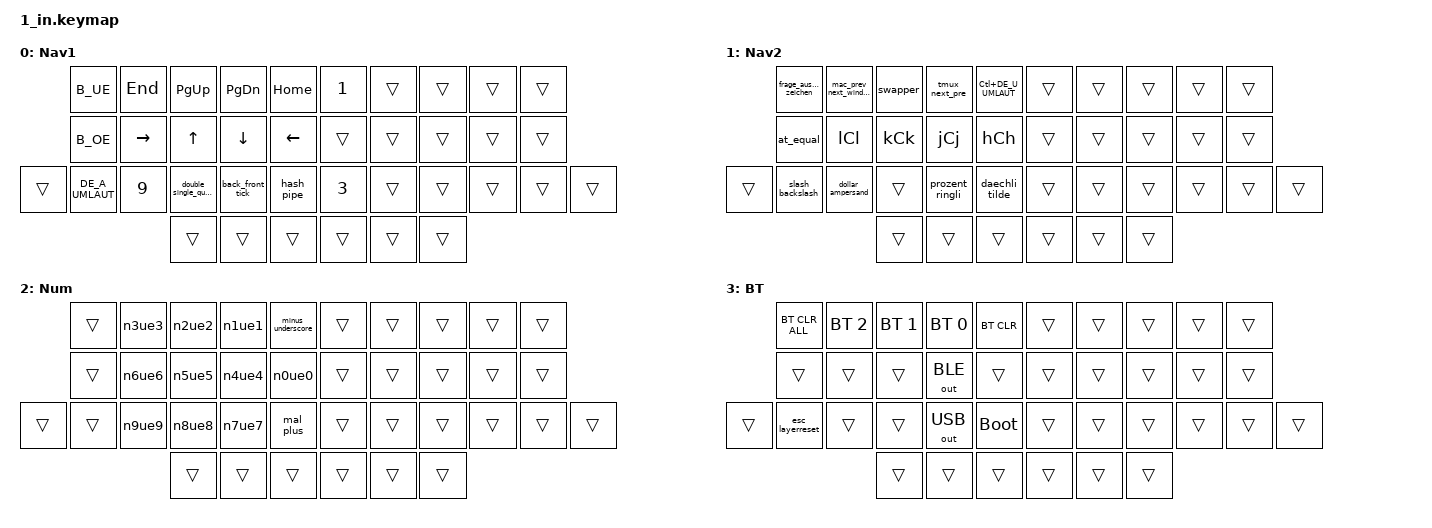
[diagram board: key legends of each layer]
#include "keys_de_swiss.h"
#include <behaviors.dtsi>
#include <dt-bindings/zmk/bt.h>
#include <dt-bindings/zmk/keys.h>
#include <dt-bindings/zmk/outputs.h>

&default_transform { col-offset = <0>; };

#define BASE 0
#define NAV  1
#define SYM  2
#define ADJ  3

&mt {
    quick-tap-ms = <100>;
    global-quick-tap;
    flavor = "tap-preferred";
    tapping-term-ms = <170>;
};

/ {
    combos {
        compatible = "zmk,combos";

        // BEGIN combos
        // END combos
    };

    macros {
        // BEGIN macros
        // END macros
    };

    behaviors {
        // BEGIN behaviors
        // END behaviors
    };

    keymap {
        compatible = "zmk,keymap";


        // BEGIN keymap
        // END keymap

        Nav1 {
            bindings = <
        &B_UE            &kp END          &kp PG_UP             &kp PG_DN         &kp HOME          &kp N1  &trans  &trans  &trans  &trans
        &B_OE            &kp RIGHT_ARROW  &kp UP                &kp DOWN          &kp LEFT_ARROW    &trans  &trans  &trans  &trans  &trans
&trans  &kp DE_A_UMLAUT  &kp N9           &double_single_quote  &back_front_tick  &hash_pipe        &kp N3  &trans  &trans  &trans  &trans  &trans
                                          &trans                &trans            &trans            &trans  &trans  &trans
            >;
        };

        Nav2 {
            bindings = <
        &frage_ausrufe_zeichen  &mac_prev_next_window  &swapper  &tmux_next_pre   &kp LC(DE_U_UMLAUT)    &trans  &trans  &trans  &trans  &trans
        &at_equal               &lCl                   &kCk      &jCj             &hCh                   &trans  &trans  &trans  &trans  &trans
&trans  &slash_backslash        &dollar_ampersand      &trans    &prozent_ringli  &daechli_tilde         &trans  &trans  &trans  &trans  &trans  &trans
                                                       &trans    &trans           &trans                 &trans  &trans  &trans
            >;
        };

        Num {
            bindings = <
        &trans  &n3ue3  &n2ue2  &n1ue1  &minus_underscore    &trans  &trans  &trans  &trans  &trans
        &trans  &n6ue6  &n5ue5  &n4ue4  &n0ue0               &trans  &trans  &trans  &trans  &trans
&trans  &trans  &n9ue9  &n8ue8  &n7ue7  &mal_plus            &trans  &trans  &trans  &trans  &trans  &trans
                        &trans  &trans  &trans               &trans  &trans  &trans
            >;
        };

        BT {
            bindings = <
        &bt BT_CLR_ALL   &bt BT_SEL 2  &bt BT_SEL 1  &bt BT_SEL 0  &bt BT_CLR     &trans  &trans  &trans  &trans  &trans
        &trans           &trans        &trans        &out OUT_BLE  &trans         &trans  &trans  &trans  &trans  &trans
&trans  &esc_layerreset  &trans        &trans        &out OUT_USB  &bootloader    &trans  &trans  &trans  &trans  &trans  &trans
                                       &trans        &trans        &trans         &trans  &trans  &trans
            >;
        };
    };

    conditional_layers {
        compatible = "zmk,conditional-layers";

        BT {
            if-layers = <1 2>;
            then-layer = <4>;
        };
    };
};
